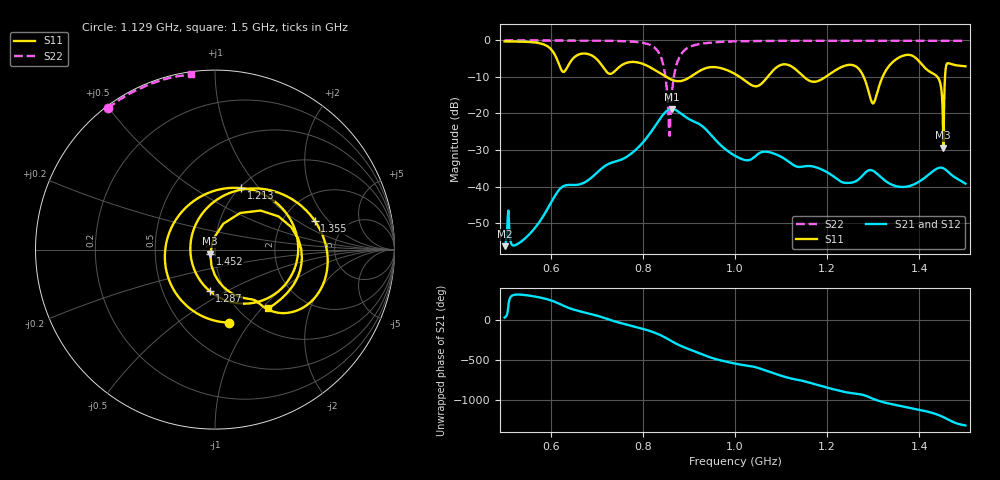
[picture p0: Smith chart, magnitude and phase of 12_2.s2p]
! TOUCHSTONE file generated by CST MICROWAVE STUDIO
! Date and time: Thu Feb 11 19:32:22 2021
! Project name: Scenario_1_Planar_Body_Tissue_Out_of_Line.cst
! Parameters = {L_HA=400; Ltissue=1000; MT=2.54; Rad_Dielectric=30; Rad_Lower=7.3; Rad_Upper=30; Wtissue=1000; a_HA=580; a_WG=246; b_HA=500; b_WG=121; c_HA=0; c_WG=187; d_feed=85; dx1=346; dy1=-155.7; h_feed=15; h_lower=18; h_upper=40; hfat=3; hgap=25; hmuscle=50; hskin=1.5}
! Header version: 2018
! Port assignment regex: !\s*Touchstone port\s*([0-9]+)\s*=\s*(CST MWS port|CST DS port)\s*([0-9]+|Zmin|Zmax)\s*\(\"(.*)\"\)(\s*mode\s*([0-9]+))?.*
! Touchstone port assignment:
! Touchstone port 1 = CST MWS port 1 ("")
! Touchstone port 2 = CST MWS port 2 ("")
# GHz S DB R 50
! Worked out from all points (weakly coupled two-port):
!   1003 points, 500 MHz to 1.5 GHz, reference 50 ohm
!   highest |S21| = -18.78 dB at 863 MHz (marker M1); lowest = -56.3 dB at 500 MHz (marker M2)
!   lowest |S11| = -29.3 dB at 1.452 GHz (marker M3), VSWR 1.07, Z = 47.4 - j2.08 ohm
!   |S11| at or under -10 dB: 851.1 MHz to 902.9 MHz (51.77 MHz wide, 5.9 % of centre); 1.011 GHz to 1.071 GHz (60.04 MHz wide, 5.77 % of centre); 1.15 GHz to 1.196 GHz (46.84 MHz wide, 3.99 % of centre) (the widest 3 of 5)
!   |S22| runs from -26.1 to 0.0 dB; largest |S21 - S12| = 0.00016
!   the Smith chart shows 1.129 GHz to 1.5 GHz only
!   S11 on the Smith chart (normalised r, x): 1.129 GHz: 0.81, -0.80; 1.213 GHz: 1.02, +0.81; 1.287 GHz: 0.85, -0.41; 1.355 GHz: 2.99, +1.44; 1.452 GHz: 0.95, -0.04; 1.5 GHz: 1.34, -1.09
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0.5  -0.27 -121.6  -56.32 24.8  -56.32 24.8  -0.01 151.1
0.667  -3.64 156.8  -39.24 97.4  -39.24 97.4  -0.04 138.3
0.717  -7.90 25.0  -34.43 18.8  -34.43 18.8  -0.09 132.6
0.741  -8.19 -96.8  -33.13 -25.9  -33.13 -25.9  -0.14 129.0
0.769  -5.99 176.8  -31.52 -67.8  -31.52 -67.8  -0.26 123.3
0.834  -8.74 31.5  -22.03 178.4  -22.03 178.4  -3.24 83.5
0.863  -10.77 -45.8  -18.78 90.6  -18.78 90.6  -14.58 -134.6
0.909  -9.50 177.1  -22.09 -26.2  -22.09 -26.2  -1.40 162.8
0.94  -7.47 83.7  -24.76 -95.8  -24.76 -95.8  -0.70 151.6
1  -9.18 -63.9  -31.57 174.9  -31.57 174.9  -0.25 140.3
1.078  -8.88 71.5  -30.71 65.1  -30.71 65.1  -0.14 131.7
1.129  -7.66 -79.4  -34.26 -19.3  -34.26 -19.3  -0.10 127.2
1.167  -11.27 170.0  -34.46 -71.3  -34.46 -71.3  -0.10 124.2
1.213  -8.59 66.9  -37.15 -142.5  -37.15 -142.5  -0.09 120.6
1.253  -6.70 -4.5  -38.92 168.8  -38.92 168.8  -0.08 117.6
1.287  -12.69 -97.5  -35.77 128.6  -35.77 128.6  -0.09 115.0
1.334  -7.05 48.8  -39.08 39.8  -39.08 39.8  -0.08 111.5
1.355  -4.75 16.1  -40.04 14.2  -40.04 14.2  -0.09 109.8
1.397  -5.37 -40.8  -38.86 -34.4  -38.86 -34.4  -0.09 106.6
1.452  -29.33 -140.1  -34.98 -128.1  -34.98 -128.1  -0.11 102.0
1.462  -6.23 -10.0  -35.91 -156.9  -35.91 -156.9  -0.12 101.2
1.5  -7.08 -47.7  -39.21 128.0  -39.21 128.0  -0.13 97.9
